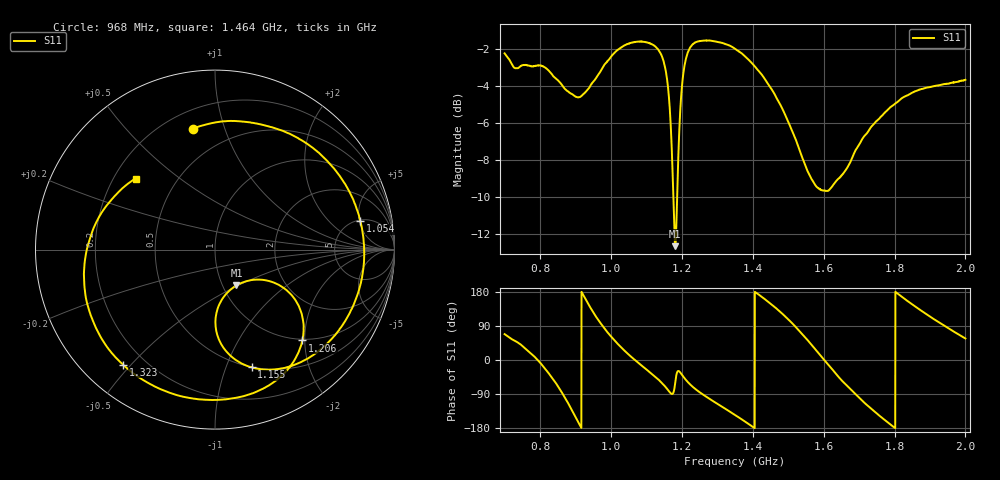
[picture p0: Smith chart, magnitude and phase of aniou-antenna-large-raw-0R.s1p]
!Keysight Technologies,P9371A,MY57212015,Z.15.41.75
!Date: Wednesday, May 04, 2022 11:18:10
!Correction: S11(C  1-Port  )
!S1P File: Measurement: S11:
# Hz S  dB  R 50
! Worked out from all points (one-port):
!   2601 points, 700 MHz to 2 GHz, reference 50 ohm
!   lowest |S11| = -12.7 dB at 1.181 GHz (marker M1), VSWR 1.61, Z = 58 - j24.5 ohm
!   |S11| at or under -10 dB: 1.176 GHz to 1.187 GHz (10.77 MHz wide, 0.912 % of centre)
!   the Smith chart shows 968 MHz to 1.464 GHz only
!   S11 on the Smith chart (normalised r, x): 968 MHz: 0.31, +0.78; 1.054 GHz: 5.21, +5.17; 1.155 GHz: 0.50, -1.23; 1.206 GHz: 0.97, -1.95; 1.323 GHz: 0.12, -0.48; 1.464 GHz: 0.29, +0.35
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7e8  -2.22 68.2
7.525e8  -2.85 35.3
7.995e8  -2.87 -6.3
8.275e8  -3.22 -39.0
8.625e8  -3.95 -87.2
8.86e8  -4.39 -125.6
9.155e8  -4.56 -177.5
9.68e8  -3.27 100.5
1.025e9  -1.95 36.8
1.054e9  -1.67 11.1
1.107e9  -1.66 -30.2
1.1555e9  -3.26 -72.8
1.1705e9  -6.88 -89.1
1.1815e9  -12.67 -59.0
1.1875e9  -9.47 -30.8
1.206e9  -3.07 -46.1
1.2505e9  -1.56 -85.2
1.3225e9  -1.72 -128.6
1.35e9  -1.97 -145.1
1.4055e9  -2.92 -179.9
1.464e9  -4.53 138.2
1.5125e9  -6.48 95.9
1.593e9  -9.62 10.3
1.675e9  -8.13 -76.2
1.74e9  -6.09 -133.4
1.8375e9  -4.49 155.1
1.9175e9  -3.97 103.9
2e9  -3.66 56.8
